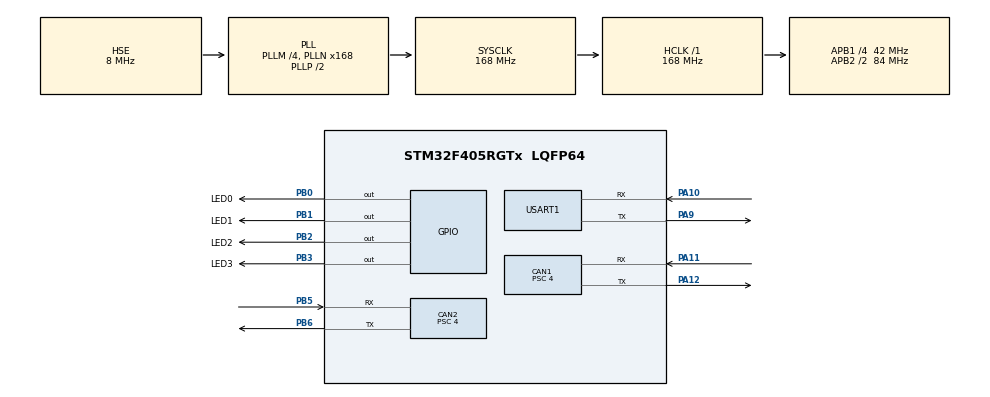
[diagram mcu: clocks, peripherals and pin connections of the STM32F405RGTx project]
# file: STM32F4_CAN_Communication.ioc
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CAN1.ABOM=ENABLE
CAN1.AWUM=ENABLE
CAN1.BS1=CAN_BS1_16TQ
CAN1.BS2=CAN_BS2_4TQ
CAN1.CalculateBaudRate=500000
CAN1.CalculateTimeBit=2000
CAN1.CalculateTimeQuantum=95.23809523809524
CAN1.Prescaler=4
CAN1.SJW=CAN_SJW_2TQ
CAN2.ABOM=ENABLE
CAN2.AWUM=ENABLE
CAN2.BS1=CAN_BS1_16TQ
CAN2.BS2=CAN_BS2_4TQ
CAN2.CalculateBaudRate=500000
CAN2.CalculateTimeBit=2000
CAN2.CalculateTimeQuantum=95.23809523809524
CAN2.Prescaler=4
CAN2.SJW=CAN_SJW_2TQ
Mcu.Family=STM32F4
Mcu.Name=STM32F405RGTx
Mcu.Package=LQFP64
NVIC.CAN1_RX0_IRQn=true\:0\:0\:false\:false\:true\:true\:true\:true
NVIC.CAN2_RX1_IRQn=true\:0\:0\:false\:false\:true\:true\:true\:true
NVIC.PriorityGroup=NVIC_PRIORITYGROUP_4
PA10.Mode=Asynchronous
PA10.Signal=USART1_RX
PA11.Mode=CAN_Activate
PA11.Signal=CAN1_RX
PA12.Mode=CAN_Activate
PA12.Signal=CAN1_TX
PA9.Mode=Asynchronous
PA9.Signal=USART1_TX
PB0.GPIO_Label=LED0
PB0.Signal=GPIO_Output
PB1.GPIO_Label=LED1
PB1.Signal=GPIO_Output
PB2.GPIO_Label=LED2
PB2.Signal=GPIO_Output
PB3.GPIO_Label=LED3
PB3.Signal=GPIO_Output
PB5.Mode=CAN_Activate
PB5.Signal=CAN2_RX
PB6.Mode=CAN_Activate
PB6.Signal=CAN2_TX
PH0-OSC_IN.Mode=HSE-External-Oscillator
PH0-OSC_IN.Signal=RCC_OSC_IN
PH1-OSC_OUT.Mode=HSE-External-Oscillator
PH1-OSC_OUT.Signal=RCC_OSC_OUT
ProjectManager.HeapSize=0x200
ProjectManager.StackSize=0x400
ProjectManager.TargetToolchain=STM32CubeIDE
RCC.48MHZClocksFreq_Value=84000000
RCC.AHBFreq_Value=168000000
RCC.APB1CLKDivider=RCC_HCLK_DIV4
RCC.APB1Freq_Value=42000000
RCC.APB1TimFreq_Value=84000000
RCC.APB2CLKDivider=RCC_HCLK_DIV2
RCC.APB2Freq_Value=84000000
RCC.APB2TimFreq_Value=168000000
RCC.CortexFreq_Value=168000000
RCC.HCLKFreq_Value=168000000
RCC.HSE_VALUE=8000000
RCC.HSI_VALUE=16000000
RCC.LSE_VALUE=32768
RCC.PLLM=4
RCC.PLLN=168
RCC.PLLSourceVirtual=RCC_PLLSOURCE_HSE
RCC.SYSCLKFreq_VALUE=168000000
RCC.SYSCLKSource=RCC_SYSCLKSOURCE_PLLCLK
RCC.VCOOutputFreq_Value=336000000
USART1.VirtualMode=VM_ASYNC
board=custom

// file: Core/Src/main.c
/* USER CODE BEGIN Header */
/**
 ******************************************************************************
 * @file           : main.c
 * @brief          : Main program body
 ******************************************************************************
 * @attention
 *
 * Copyright (c) 2022 STMicroelectronics.
 * All rights reserved.
 *
 * This software is licensed under terms that can be found in the LICENSE file
 * in the root directory of this software component.
 * If no LICENSE file comes with this software, it is provided AS-IS.
 *
 ******************************************************************************
 */
/* USER CODE END Header */
#include "main.h"

/* USER CODE BEGIN Includes */
#include <stdio.h>
#include <string.h>
/* USER CODE END Includes */

CAN_HandleTypeDef hcan1;
CAN_HandleTypeDef hcan2;

UART_HandleTypeDef huart1;

/* USER CODE BEGIN PV */
CAN_TxHeaderTypeDef Node1_TxHeader;
CAN_RxHeaderTypeDef Node1_RxHeader;

uint8_t Node1_TxData[8];
uint8_t Node1_RxData[8];

uint32_t Node1_TxMailbox;

CAN_TxHeaderTypeDef Node2_TxHeader;
CAN_RxHeaderTypeDef Node2_RxHeader;

uint8_t Node2_TxData[8];
uint8_t Node2_RxData[8];

uint32_t Node2_TxMailbox;
/* USER CODE END PV */

void SystemClock_Config(void);
static void MX_GPIO_Init(void);
static void MX_CAN1_Init(void);
static void MX_CAN2_Init(void);
static void MX_USART1_UART_Init(void);
/* USER CODE BEGIN PFP */
#ifdef __GNUC__
/* With GCC/RAISONANCE, small printf (option LD Linker->Libraries->Small printf
 set to 'Yes') calls __io_putchar() */
#define PUTCHAR_PROTOTYPE int __io_putchar(int ch)
#else
 #define PUTCHAR_PROTOTYPE int fputc(int ch, FILE *f)
#endif /* __GNUC__ */

/* USER CODE END PFP */

/* USER CODE BEGIN 0 */
void HAL_CAN_RxFifo0MsgPendingCallback(CAN_HandleTypeDef *hcan)
{
  HAL_GPIO_WritePin(LED1_GPIO_Port, LED1_Pin, GPIO_PIN_SET);
  HAL_CAN_GetRxMessage(hcan, CAN_RX_FIFO0, &Node1_RxHeader, Node1_RxData);
  if (Node1_RxHeader.DLC == 8)
  {
    printf("Node1 get data: %s\r\n", Node1_RxData);
    HAL_GPIO_WritePin(LED1_GPIO_Port, LED1_Pin, GPIO_PIN_RESET);
  }
}

void HAL_CAN_RxFifo1MsgPendingCallback(CAN_HandleTypeDef *hcan)
{
  HAL_GPIO_WritePin(LED2_GPIO_Port, LED2_Pin, GPIO_PIN_SET);
  HAL_CAN_GetRxMessage(hcan, CAN_RX_FIFO1, &Node2_RxHeader, Node2_RxData);
  if (Node2_RxHeader.DLC == 8)
  {
    printf("Node2 get data: %s\r\n", Node2_RxData);
    HAL_GPIO_WritePin(LED2_GPIO_Port, LED2_Pin, GPIO_PIN_RESET);
  }
}

/* USER CODE END 0 */

int main(void)
{

  /* MCU Configuration--------------------------------------------------------*/

  /* Reset of all peripherals, Initializes the Flash interface and the Systick. */
  HAL_Init();

  /* Configure the system clock */
  SystemClock_Config();

  /* Initialize all configured peripherals */
  MX_GPIO_Init();
  MX_CAN1_Init();
  MX_CAN2_Init();
  MX_USART1_UART_Init();
  /* USER CODE BEGIN 2 */
  HAL_CAN_Start(&hcan1);
  HAL_CAN_Start(&hcan2);

  // Activate the notification
  HAL_CAN_ActivateNotification(&hcan1, CAN_IT_RX_FIFO0_MSG_PENDING);
  // Activate the notification
  HAL_CAN_ActivateNotification(&hcan2, CAN_IT_RX_FIFO1_MSG_PENDING);

  Node1_TxHeader.DLC = 8;  // data length
  Node1_TxHeader.IDE = CAN_ID_STD;
  Node1_TxHeader.RTR = CAN_RTR_DATA;
  Node1_TxHeader.StdId = 0x555;  // ID

  Node1_TxData[0] = 'H';
  Node1_TxData[1] = 'i';
  Node1_TxData[2] = ' ';
  Node1_TxData[3] = 'C';
  Node1_TxData[4] = 'E';
  Node1_TxData[5] = '4';
  Node1_TxData[6] = '3';
  Node1_TxData[7] = '7';

  Node2_TxHeader.DLC = 8;  // data length
  Node2_TxHeader.IDE = CAN_ID_STD;
  Node2_TxHeader.RTR = CAN_RTR_DATA;
  Node2_TxHeader.StdId = 0x2AA;  // ID

  Node2_TxData[0] = 'B';
  Node2_TxData[1] = 'y';
  Node2_TxData[2] = 'e';
  Node2_TxData[3] = ' ';
  Node2_TxData[4] = 'B';
  Node2_TxData[5] = 'y';
  Node2_TxData[6] = 'e';
  Node2_TxData[7] = '!';
  /* USER CODE END 2 */

  /* Infinite loop */
  /* USER CODE BEGIN WHILE */
  while (1)
  {
    HAL_GPIO_TogglePin(LED1_GPIO_Port, LED0_Pin);
    HAL_CAN_AddTxMessage(&hcan1, &Node1_TxHeader, Node1_TxData,
        &Node1_TxMailbox);
    HAL_CAN_AddTxMessage(&hcan2, &Node2_TxHeader, Node2_TxData,
        &Node2_TxMailbox);
    HAL_Delay(500);
    /* USER CODE END WHILE */

  }
}

void SystemClock_Config(void)
{
  RCC_OscInitTypeDef RCC_OscInitStruct =
  { 0 };
  RCC_ClkInitTypeDef RCC_ClkInitStruct =
  { 0 };

  /** Configure the main internal regulator output voltage
   */
  __HAL_RCC_PWR_CLK_ENABLE();
  __HAL_PWR_VOLTAGESCALING_CONFIG(PWR_REGULATOR_VOLTAGE_SCALE1);

  /** Initializes the RCC Oscillators according to the specified parameters
   * in the RCC_OscInitTypeDef structure.
   */
  RCC_OscInitStruct.OscillatorType = RCC_OSCILLATORTYPE_HSE;
  RCC_OscInitStruct.HSEState = RCC_HSE_ON;
  RCC_OscInitStruct.PLL.PLLState = RCC_PLL_ON;
  RCC_OscInitStruct.PLL.PLLSource = RCC_PLLSOURCE_HSE;
  RCC_OscInitStruct.PLL.PLLM = 4;
  RCC_OscInitStruct.PLL.PLLN = 168;
  RCC_OscInitStruct.PLL.PLLP = RCC_PLLP_DIV2;
  RCC_OscInitStruct.PLL.PLLQ = 4;
  if (HAL_RCC_OscConfig(&RCC_OscInitStruct) != HAL_OK)
  {
    Error_Handler();
  }

  /** Initializes the CPU, AHB and APB buses clocks
   */
  RCC_ClkInitStruct.ClockType = RCC_CLOCKTYPE_HCLK | RCC_CLOCKTYPE_SYSCLK
      | RCC_CLOCKTYPE_PCLK1 | RCC_CLOCKTYPE_PCLK2;
  RCC_ClkInitStruct.SYSCLKSource = RCC_SYSCLKSOURCE_PLLCLK;
  RCC_ClkInitStruct.AHBCLKDivider = RCC_SYSCLK_DIV1;
  RCC_ClkInitStruct.APB1CLKDivider = RCC_HCLK_DIV4;
  RCC_ClkInitStruct.APB2CLKDivider = RCC_HCLK_DIV2;

  if (HAL_RCC_ClockConfig(&RCC_ClkInitStruct, FLASH_LATENCY_5) != HAL_OK)
  {
    Error_Handler();
  }
}

static void MX_CAN1_Init(void)
{

  hcan1.Instance = CAN1;
  hcan1.Init.Prescaler = 4;
  hcan1.Init.Mode = CAN_MODE_NORMAL;
  hcan1.Init.SyncJumpWidth = CAN_SJW_2TQ;
  hcan1.Init.TimeSeg1 = CAN_BS1_16TQ;
  hcan1.Init.TimeSeg2 = CAN_BS2_4TQ;
  hcan1.Init.TimeTriggeredMode = DISABLE;
  hcan1.Init.AutoBusOff = ENABLE;
  hcan1.Init.AutoWakeUp = ENABLE;
  hcan1.Init.AutoRetransmission = DISABLE;
  hcan1.Init.ReceiveFifoLocked = DISABLE;
  hcan1.Init.TransmitFifoPriority = DISABLE;
  if (HAL_CAN_Init(&hcan1) != HAL_OK)
  {
    Error_Handler();
  }
  /* USER CODE BEGIN CAN1_Init 2 */
  CAN_FilterTypeDef canfilterconfig;

  canfilterconfig.FilterActivation = CAN_FILTER_ENABLE;
  canfilterconfig.FilterBank = 18; // which filter bank to use from the assigned ones
  canfilterconfig.FilterFIFOAssignment = CAN_FILTER_FIFO0;
  canfilterconfig.FilterIdHigh = 0x2AA << 5;
  canfilterconfig.FilterIdLow = 0;
  canfilterconfig.FilterMaskIdHigh = 0x2AA << 5;
  canfilterconfig.FilterMaskIdLow = 0x0000;
  canfilterconfig.FilterMode = CAN_FILTERMODE_IDMASK;
  canfilterconfig.FilterScale = CAN_FILTERSCALE_32BIT;
  canfilterconfig.SlaveStartFilterBank = 20; // how many filters to assign to the CAN1 (master can)

  HAL_CAN_ConfigFilter(&hcan1, &canfilterconfig);
  /* USER CODE END CAN1_Init 2 */

}

static void MX_CAN2_Init(void)
{

  hcan2.Instance = CAN2;
  hcan2.Init.Prescaler = 4;
  hcan2.Init.Mode = CAN_MODE_NORMAL;
  hcan2.Init.SyncJumpWidth = CAN_SJW_2TQ;
  hcan2.Init.TimeSeg1 = CAN_BS1_16TQ;
  hcan2.Init.TimeSeg2 = CAN_BS2_4TQ;
  hcan2.Init.TimeTriggeredMode = DISABLE;
  hcan2.Init.AutoBusOff = ENABLE;
  hcan2.Init.AutoWakeUp = ENABLE;
  hcan2.Init.AutoRetransmission = DISABLE;
  hcan2.Init.ReceiveFifoLocked = DISABLE;
  hcan2.Init.TransmitFifoPriority = DISABLE;
  if (HAL_CAN_Init(&hcan2) != HAL_OK)
  {
    Error_Handler();
  }
  /* USER CODE BEGIN CAN2_Init 2 */
  CAN_FilterTypeDef canfilterconfig;

  canfilterconfig.FilterActivation = CAN_FILTER_ENABLE;
  canfilterconfig.FilterBank = 10; // which filter bank to use from the assigned ones
  canfilterconfig.FilterFIFOAssignment = CAN_FILTER_FIFO1;
  canfilterconfig.FilterIdHigh = 0x555 << 5;
  canfilterconfig.FilterIdLow = 0;
  canfilterconfig.FilterMaskIdHigh = 0x555 << 5;
  canfilterconfig.FilterMaskIdLow = 0x0000;
  canfilterconfig.FilterMode = CAN_FILTERMODE_IDMASK;
  canfilterconfig.FilterScale = CAN_FILTERSCALE_32BIT;
  canfilterconfig.SlaveStartFilterBank = 0; // doesn't matter in single can controllers

  HAL_CAN_ConfigFilter(&hcan2, &canfilterconfig);
  /* USER CODE END CAN2_Init 2 */

}

static void MX_USART1_UART_Init(void)
{

  huart1.Instance = USART1;
  huart1.Init.BaudRate = 115200;
  huart1.Init.WordLength = UART_WORDLENGTH_8B;
  huart1.Init.StopBits = UART_STOPBITS_1;
  huart1.Init.Parity = UART_PARITY_NONE;
  huart1.Init.Mode = UART_MODE_TX_RX;
  huart1.Init.HwFlowCtl = UART_HWCONTROL_NONE;
  huart1.Init.OverSampling = UART_OVERSAMPLING_16;
  if (HAL_UART_Init(&huart1) != HAL_OK)
  {
    Error_Handler();
  }

}

static void MX_GPIO_Init(void)
{
  GPIO_InitTypeDef GPIO_InitStruct =
  { 0 };

  /* GPIO Ports Clock Enable */
  __HAL_RCC_GPIOH_CLK_ENABLE();
  __HAL_RCC_GPIOB_CLK_ENABLE();
  __HAL_RCC_GPIOA_CLK_ENABLE();

  /*Configure GPIO pin Output Level */
  HAL_GPIO_WritePin(GPIOB, LED0_Pin | LED1_Pin | LED2_Pin | LED3_Pin,
      GPIO_PIN_RESET);

  /*Configure GPIO pins : LED0_Pin LED1_Pin LED2_Pin LED3_Pin */
  GPIO_InitStruct.Pin = LED0_Pin | LED1_Pin | LED2_Pin | LED3_Pin;
  GPIO_InitStruct.Mode = GPIO_MODE_OUTPUT_PP;
  GPIO_InitStruct.Pull = GPIO_NOPULL;
  GPIO_InitStruct.Speed = GPIO_SPEED_FREQ_LOW;
  HAL_GPIO_Init(GPIOB, &GPIO_InitStruct);

}

/* USER CODE BEGIN 4 */
/**
 * @brief Retargets the C library printf function to the USART.
 * @param None
 * @retval None
 */
PUTCHAR_PROTOTYPE
{
  /* Place your implementation of fputc here */
  /* e.g. write a character to the USART */
  HAL_UART_Transmit(&huart1, (uint8_t*) &ch, 1, 100);
  return ch;
}

/* USER CODE END 4 */

void Error_Handler(void)
{
  __disable_irq();
  while (1)
  {
  }
}
